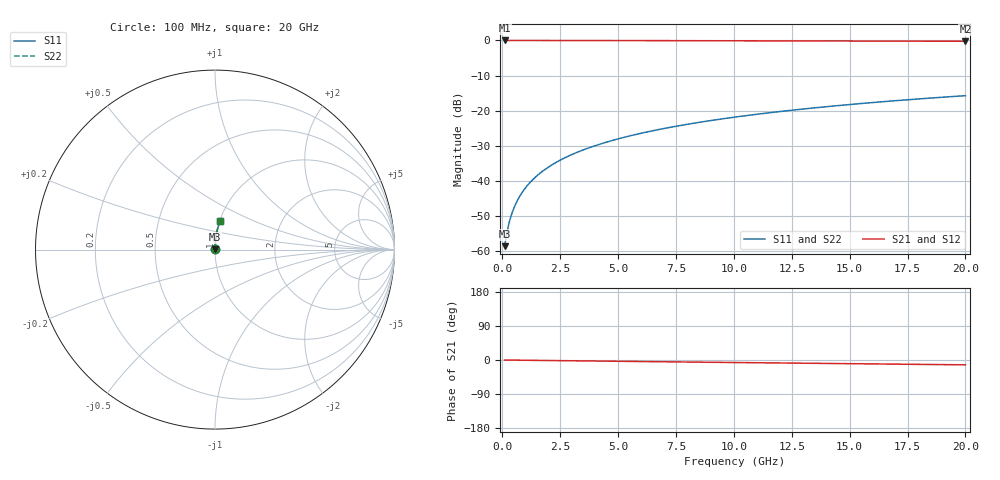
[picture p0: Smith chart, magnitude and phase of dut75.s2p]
! Touchstone file exported from HFSS 2024.1.0
!  File:  C:/UserFiles/LocalFiles/RDL_TSV_Batchsim/temp_RDL_bottom_75_1778694074.aedt
!  Generated:  01:44:07 AM May 14, 2026
!  Design:  RDL_bottom
!  Project:  temp_RDL_bottom_75_1778694074
!  Setup:  Setup1
!  Solution:  Sweep
! Variables:
!  dtsv = 10.80580581um
!  hbump = 3um
!  htsv = 98.44um
!  ldown = 132.03um
!  lrdl = 100um
!  p = 40
!  p1 = 49.82um
!  rhole = 1um
!  t = 450um
!  tdown = 4.37um
!  trdl = 3.915915916um
!  wdown = 15.18um
!  wrdl = 20um
# GHz S MA R 50.000000
! Terminal data exported
! Port[1] = RDL1_T1
! Port[2] = RDL1_T2
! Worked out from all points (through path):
!   200 points, 100 MHz to 20 GHz, reference 50 ohm
!   highest |S21| = -0.01 dB at 100 MHz (marker M1); lowest = -0.2 dB at 20 GHz (marker M2)
!   group delay of S21, straight-line fit = 1.76 ps
!   lowest |S11| = -58.5 dB at 100 MHz (marker M3), VSWR 1.00, Z = 50.1 + j0.0826 ohm
!   |S11| at or under -10 dB: start of sweep to end of sweep
!   |S22| runs from -58.5 to -15.7 dB; largest |S21 - S12| = 3.4e-15
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0.1  0.001185 44.1  0.9991 -0.1  0.9991 -0.1  0.001185 44.1
! Gamma 0 0 0 0
! Port Impedance 50 0 50 0
0.2  0.001856 61.9  0.9991 -0.1  0.9991 -0.1  0.001856 61.9
0.3  0.002598 69.7  0.9991 -0.2  0.9991 -0.2  0.002598 69.7
0.4  0.003357 74.0  0.9991 -0.3  0.9991 -0.3  0.003357 74.0
0.5  0.004122 76.8  0.999 -0.4  0.999 -0.4  0.004122 76.8
0.6  0.004893 78.7  0.999 -0.4  0.999 -0.4  0.004893 78.7
0.8  0.006443 81.2  0.9989 -0.6  0.9989 -0.6  0.006443 81.2
1.1  0.008783 83.3  0.9988 -0.8  0.9988 -0.8  0.008783 83.3
1.5  0.01192 84.9  0.9987 -1.0  0.9987 -1.0  0.01192 84.9
1.8  0.01428 85.5  0.9985 -1.3  0.9985 -1.3  0.01428 85.5
2.1  0.01665 86.0  0.9983 -1.5  0.9983 -1.5  0.01665 86.0
2.7  0.0214 86.5  0.9979 -1.9  0.9979 -1.9  0.0214 86.5
3.5  0.02776 86.9  0.9972 -2.4  0.9972 -2.4  0.02776 86.9
4.2  0.03336 87.0  0.9965 -2.9  0.9965 -2.9  0.03336 87.0
5  0.03978 87.0  0.9956 -3.4  0.9956 -3.4  0.03978 87.0
5.9  0.04707 86.8  0.9945 -4.0  0.9945 -4.0  0.04707 86.8
6.8  0.0544 86.6  0.9934 -4.6  0.9934 -4.6  0.0544 86.6
8.3  0.06673 86.1  0.9913 -5.6  0.9913 -5.6  0.06673 86.1
10.1  0.08167 85.3  0.9887 -6.7  0.9887 -6.7  0.08167 85.3
13.4  0.1092 83.5  0.9838 -8.8  0.9838 -8.8  0.1092 83.5
16.7  0.1367 81.5  0.9785 -10.8  0.9785 -10.8  0.1367 81.5
20  0.1638 79.4  0.973 -12.7  0.973 -12.7  0.1638 79.4
